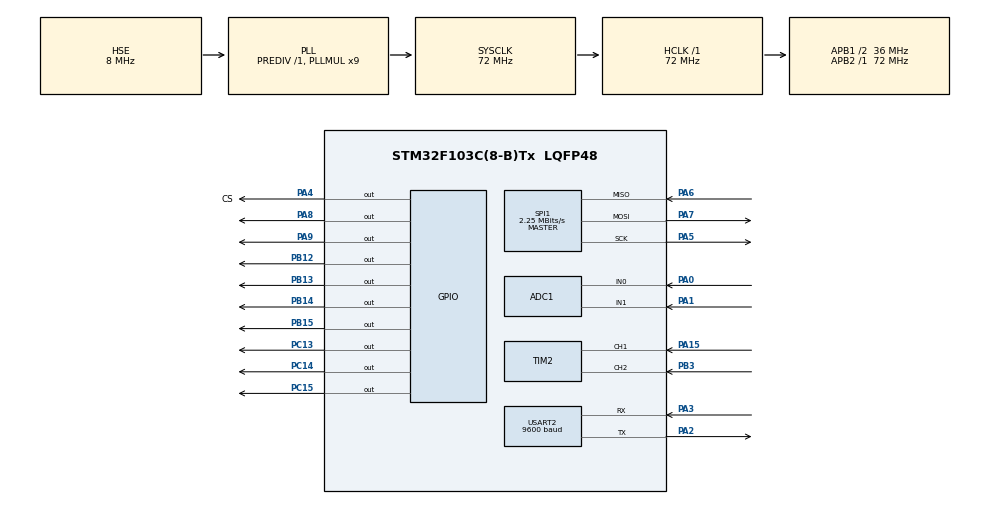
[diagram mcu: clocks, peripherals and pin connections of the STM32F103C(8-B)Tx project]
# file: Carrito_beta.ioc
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ADC1.Channel-1\#ChannelRegularConversion=ADC_CHANNEL_1
ADC1.Channel-2\#ChannelRegularConversion=ADC_CHANNEL_0
ADC1.ContinuousConvMode=ENABLE
ADC1.NbrOfConversion=2
ADC1.NbrOfConversionFlag=1
ADC1.Rank-1\#ChannelRegularConversion=1
ADC1.Rank-2\#ChannelRegularConversion=2
ADC1.SamplingTime-1\#ChannelRegularConversion=ADC_SAMPLETIME_1CYCLE_5
ADC1.SamplingTime-2\#ChannelRegularConversion=ADC_SAMPLETIME_1CYCLE_5
ADC1.master=1
FATFS._MAX_SS=4096
FATFS._USE_LFN=1
Mcu.Family=STM32F1
Mcu.Name=STM32F103C(8-B)Tx
Mcu.Package=LQFP48
NVIC.PriorityGroup=NVIC_PRIORITYGROUP_4
NVIC.TIM2_IRQn=true\:0\:0\:false\:false\:true\:true\:true\:true
NVIC.USART2_IRQn=true\:0\:0\:false\:false\:true\:true\:true\:true
PA0-WKUP.Signal=ADCx_IN0
PA1.Signal=ADCx_IN1
PA13.Mode=Serial_Wire
PA13.Signal=SYS_JTMS-SWDIO
PA14.Mode=Serial_Wire
PA14.Signal=SYS_JTCK-SWCLK
PA15.Signal=S_TIM2_CH1_ETR
PA2.Mode=Asynchronous
PA2.Signal=USART2_TX
PA3.Mode=Asynchronous
PA3.Signal=USART2_RX
PA4.GPIO_Label=CS
PA4.Signal=GPIO_Output
PA5.Mode=Full_Duplex_Master
PA5.Signal=SPI1_SCK
PA6.Mode=Full_Duplex_Master
PA6.Signal=SPI1_MISO
PA7.Mode=Full_Duplex_Master
PA7.Signal=SPI1_MOSI
PA8.Signal=GPIO_Output
PA9.Signal=GPIO_Output
PB12.Signal=GPIO_Output
PB13.Signal=GPIO_Output
PB14.Signal=GPIO_Output
PB15.Signal=GPIO_Output
PB3.Signal=S_TIM2_CH2
PC13-TAMPER-RTC.Signal=GPIO_Output
PC14-OSC32_IN.Signal=GPIO_Output
PC15-OSC32_OUT.Signal=GPIO_Output
PD0-OSC_IN.Mode=HSE-External-Oscillator
PD0-OSC_IN.Signal=RCC_OSC_IN
PD1-OSC_OUT.Mode=HSE-External-Oscillator
PD1-OSC_OUT.Signal=RCC_OSC_OUT
ProjectManager.HeapSize=0x200
ProjectManager.StackSize=0x400
ProjectManager.TargetToolchain=STM32CubeIDE
RCC.ADCPresc=RCC_ADCPCLK2_DIV6
RCC.AHBFreq_Value=72000000
RCC.APB1CLKDivider=RCC_HCLK_DIV2
RCC.APB1Freq_Value=36000000
RCC.APB1TimFreq_Value=72000000
RCC.APB2Freq_Value=72000000
RCC.APB2TimFreq_Value=72000000
RCC.HCLKFreq_Value=72000000
RCC.PLLMUL=RCC_PLL_MUL9
RCC.PLLSourceVirtual=RCC_PLLSOURCE_HSE
RCC.SYSCLKFreq_VALUE=72000000
RCC.SYSCLKSource=RCC_SYSCLKSOURCE_PLLCLK
RCC.USBFreq_Value=72000000
SH.ADCx_IN0.0=ADC1_IN0,IN0
SH.ADCx_IN1.0=ADC1_IN1,IN1
SH.S_TIM2_CH1_ETR.0=TIM2_CH1,Encoder_Interface
SH.S_TIM2_CH2.0=TIM2_CH2,Encoder_Interface
SPI1.BaudRatePrescaler=SPI_BAUDRATEPRESCALER_32
SPI1.CalculateBaudRate=2.25 MBits/s
SPI1.Direction=SPI_DIRECTION_2LINES
SPI1.Mode=SPI_MODE_MASTER
SPI1.VirtualType=VM_MASTER
TIM2.AutoReloadPreload=TIM_AUTORELOAD_PRELOAD_ENABLE
TIM2.EncoderMode=TIM_ENCODERMODE_TI12
TIM2.IC1Filter=0
TIM2.IC1Polarity=TIM_ICPOLARITY_RISING
TIM2.IC2Filter=0
TIM2.IC2Polarity=TIM_ICPOLARITY_RISING
USART2.BaudRate=9600
USART2.Mode=MODE_RX
USART2.VirtualMode=VM_ASYNC
VP_ADC1_Vref_Input.Mode=IN-Vrefint
VP_FATFS_VS_Generic.Mode=User_defined
board=custom

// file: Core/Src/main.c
/* USER CODE BEGIN Header */
/**
  ******************************************************************************
  * @file           : main.c
  * @brief          : Main program body
  ******************************************************************************
  * @attention
  *
  * Copyright (c) 2024 STMicroelectronics.
  * All rights reserved.
  *
  * This software is licensed under terms that can be found in the LICENSE file
  * in the root directory of this software component.
  * If no LICENSE file comes with this software, it is provided AS-IS.
  *
  ******************************************************************************
  */
/* USER CODE END Header */
#include "main.h"
#include "fatfs.h"

/* USER CODE BEGIN Includes */
#include "UartRingbuffer.h"
#include "string.h"
#include "stdio.h"
#include "sensors.h"
#include "gps.h"
#include "sdcard.h"
#include "encoder.h"
#include "lcd.h"
/* USER CODE END Includes */

/* USER CODE BEGIN PD */
FIL fil;
/* USER CODE END PD */

ADC_HandleTypeDef hadc1;

SPI_HandleTypeDef hspi1;

TIM_HandleTypeDef htim2;

UART_HandleTypeDef huart2;

void SystemClock_Config(void);
static void MX_GPIO_Init(void);
static void MX_SPI1_Init(void);
static void MX_USART2_UART_Init(void);
static void MX_ADC1_Init(void);
static void MX_TIM2_Init(void);

/* USER CODE BEGIN 0 */
uint32_t adcValues[2];  // Array para almacenar los valores de los canales ADC

//Headers y valores constantes
const char HEADER[] = "Trocha(mm),Peralte(mm),Distancia(m),Latitud,Longitud,Velocidad(km/h),HoraGPS\n";

//Inicializamos variables
float wheel_diam = 0.05; //m
float distance =0;
int32_t totalPulses = 0;
int32_t lastCNT = 0;

#define DISTANCE_INTERVAL 0.25f  // Intervalo de guardado en metros
float lastSavedDistance = 0.0f;

//Buffers para datos GPS
char GGA[100];
char RMC[100];
char gpsBuffer[250];

GGASTRUCT gga;
RMCSTRUCT rmc;

//Flags de validez
int flagGGA = 0, flagRMC = 0;
#define VCCTIMEOUT_INIT 5000
int VCCTimeout = VCCTIMEOUT_INIT;

/* USER CODE END 0 */

int main(void)
{

  /* MCU Configuration--------------------------------------------------------*/

  /* Reset of all peripherals, Initializes the Flash interface and the Systick. */
  HAL_Init();

  /* Configure the system clock */
  SystemClock_Config();

  /* Initialize all configured peripherals */
  MX_GPIO_Init();
  MX_SPI1_Init();
  MX_USART2_UART_Init();
  MX_FATFS_Init();
  MX_ADC1_Init();
  MX_TIM2_Init();
  /* USER CODE BEGIN 2 */
	#define VREFINT_CAL_ADDR ((uint16_t*)0x1FFFF7BA) // Dirección de la constante de fábrica
	#define VREFINT_CAL      (*VREFINT_CAL_ADDR) // Valor calibrado a 3.3V en fábrica
  // Inicialización de módulo ADC
  Sensors_Init(&hadc1);
  //Inicializo encoder incremental para rueda
  Encoder_Init(&htim2);
  //Escribimos el header en la SD
  SD_Write(&fil, HEADER);

  //Pantalla LCD
  Lcd_PortType ports[] = { GPIOB, GPIOB, GPIOB, GPIOB };
  Lcd_PinType pins[] = {GPIO_PIN_12, GPIO_PIN_13, GPIO_PIN_14, GPIO_PIN_15};
  //B12 cablear a D4; B13 a D5; B14 a D6 y B15 a D7
  Lcd_HandleTypeDef lcd;
  lcd = Lcd_create(ports, pins, GPIOA, GPIO_PIN_8, GPIOA, GPIO_PIN_9, LCD_4_BIT_MODE);
  // A8 cablear a RS; A9 a E; RW a GND
  Lcd_cursor(&lcd, 0,4);
  Lcd_string(&lcd, "TIA S.A");
  Lcd_cursor(&lcd, 1,0);
  Lcd_string(&lcd, "Inicializando...");
  HAL_Delay(2000);
  Lcd_clear(&lcd);
  Lcd_cursor(&lcd, 0,4);
  Lcd_string(&lcd, "Avance");
  Lcd_cursor(&lcd, 1,0);
  Lcd_string(&lcd, "para iniciar...");
  HAL_Delay(2000);

  /* USER CODE END 2 */

  /* Infinite loop */
  /* USER CODE BEGIN WHILE */
  while (1)
  {
	  // LED ON
	      HAL_GPIO_TogglePin(GPIOC, GPIO_PIN_13);

	      //Leemos la trocha y el peralte
	      float trocha, peralte;
	      Sensors_Read(&trocha, &peralte);

//	      //Leemos GPS
	      GPS_Read(&huart2, gpsBuffer, sizeof(gpsBuffer), &gga);
//
    /* USER CODE END WHILE */

    /* USER CODE BEGIN 3 */
//
//		   //Calculo el avance de la rueda em m
	      int32_t deltaPulses = Encoder_ReadDelta();
	      float distance = Encoder_GetDistance(wheel_diam);

		   // Si se recorrio la distancia minima objetivo, grabamos y mostramos.
		   if (fabs(distance-lastSavedDistance)>=DISTANCE_INTERVAL) {

			   // Escribo el buffer con datos de trocha y peralte
			   char buffer[200];
			   snprintf(buffer, sizeof(buffer), "%.1f, %.2f,%.3f, %s", trocha, peralte, distance, gpsBuffer);

			   //Escribimos en SD
			   SD_Write(&fil, buffer);

			   //Actualizamos display
			   Lcd_show_info(&lcd, gpsBuffer, trocha, peralte);

			   // Actualizamos la última distancia guardada
			   lastSavedDistance = distance;
		   	   }

  }
  /* USER CODE END 3 */
}

void SystemClock_Config(void)
{
  RCC_OscInitTypeDef RCC_OscInitStruct = {0};
  RCC_ClkInitTypeDef RCC_ClkInitStruct = {0};
  RCC_PeriphCLKInitTypeDef PeriphClkInit = {0};

  /** Initializes the RCC Oscillators according to the specified parameters
  * in the RCC_OscInitTypeDef structure.
  */
  RCC_OscInitStruct.OscillatorType = RCC_OSCILLATORTYPE_HSE;
  RCC_OscInitStruct.HSEState = RCC_HSE_ON;
  RCC_OscInitStruct.HSEPredivValue = RCC_HSE_PREDIV_DIV1;
  RCC_OscInitStruct.HSIState = RCC_HSI_ON;
  RCC_OscInitStruct.PLL.PLLState = RCC_PLL_ON;
  RCC_OscInitStruct.PLL.PLLSource = RCC_PLLSOURCE_HSE;
  RCC_OscInitStruct.PLL.PLLMUL = RCC_PLL_MUL9;
  if (HAL_RCC_OscConfig(&RCC_OscInitStruct) != HAL_OK)
  {
    Error_Handler();
  }

  /** Initializes the CPU, AHB and APB buses clocks
  */
  RCC_ClkInitStruct.ClockType = RCC_CLOCKTYPE_HCLK|RCC_CLOCKTYPE_SYSCLK
                              |RCC_CLOCKTYPE_PCLK1|RCC_CLOCKTYPE_PCLK2;
  RCC_ClkInitStruct.SYSCLKSource = RCC_SYSCLKSOURCE_PLLCLK;
  RCC_ClkInitStruct.AHBCLKDivider = RCC_SYSCLK_DIV1;
  RCC_ClkInitStruct.APB1CLKDivider = RCC_HCLK_DIV2;
  RCC_ClkInitStruct.APB2CLKDivider = RCC_HCLK_DIV1;

  if (HAL_RCC_ClockConfig(&RCC_ClkInitStruct, FLASH_LATENCY_2) != HAL_OK)
  {
    Error_Handler();
  }
  PeriphClkInit.PeriphClockSelection = RCC_PERIPHCLK_ADC;
  PeriphClkInit.AdcClockSelection = RCC_ADCPCLK2_DIV6;
  if (HAL_RCCEx_PeriphCLKConfig(&PeriphClkInit) != HAL_OK)
  {
    Error_Handler();
  }
}

static void MX_ADC1_Init(void)
{

  ADC_ChannelConfTypeDef sConfig = {0};

  /** Common config
  */
  hadc1.Instance = ADC1;
  hadc1.Init.ScanConvMode = ADC_SCAN_ENABLE;
  hadc1.Init.ContinuousConvMode = ENABLE;
  hadc1.Init.DiscontinuousConvMode = DISABLE;
  hadc1.Init.ExternalTrigConv = ADC_SOFTWARE_START;
  hadc1.Init.DataAlign = ADC_DATAALIGN_RIGHT;
  hadc1.Init.NbrOfConversion = 2;
  if (HAL_ADC_Init(&hadc1) != HAL_OK)
  {
    Error_Handler();
  }

  /** Configure Regular Channel
  */
  sConfig.Channel = ADC_CHANNEL_1;
  sConfig.Rank = ADC_REGULAR_RANK_1;
  sConfig.SamplingTime = ADC_SAMPLETIME_1CYCLE_5;
  if (HAL_ADC_ConfigChannel(&hadc1, &sConfig) != HAL_OK)
  {
    Error_Handler();
  }

  /** Configure Regular Channel
  */
  sConfig.Channel = ADC_CHANNEL_0;
  sConfig.Rank = ADC_REGULAR_RANK_2;
  if (HAL_ADC_ConfigChannel(&hadc1, &sConfig) != HAL_OK)
  {
    Error_Handler();
  }

}

static void MX_SPI1_Init(void)
{

  /* SPI1 parameter configuration*/
  hspi1.Instance = SPI1;
  hspi1.Init.Mode = SPI_MODE_MASTER;
  hspi1.Init.Direction = SPI_DIRECTION_2LINES;
  hspi1.Init.DataSize = SPI_DATASIZE_8BIT;
  hspi1.Init.CLKPolarity = SPI_POLARITY_LOW;
  hspi1.Init.CLKPhase = SPI_PHASE_1EDGE;
  hspi1.Init.NSS = SPI_NSS_SOFT;
  hspi1.Init.BaudRatePrescaler = SPI_BAUDRATEPRESCALER_32;
  hspi1.Init.FirstBit = SPI_FIRSTBIT_MSB;
  hspi1.Init.TIMode = SPI_TIMODE_DISABLE;
  hspi1.Init.CRCCalculation = SPI_CRCCALCULATION_DISABLE;
  hspi1.Init.CRCPolynomial = 10;
  if (HAL_SPI_Init(&hspi1) != HAL_OK)
  {
    Error_Handler();
  }

}

static void MX_TIM2_Init(void)
{

  TIM_Encoder_InitTypeDef sConfig = {0};
  TIM_MasterConfigTypeDef sMasterConfig = {0};

  htim2.Instance = TIM2;
  htim2.Init.Prescaler = 0;
  htim2.Init.CounterMode = TIM_COUNTERMODE_UP;
  htim2.Init.Period = 65535;
  htim2.Init.ClockDivision = TIM_CLOCKDIVISION_DIV1;
  htim2.Init.AutoReloadPreload = TIM_AUTORELOAD_PRELOAD_ENABLE;
  sConfig.EncoderMode = TIM_ENCODERMODE_TI12;
  sConfig.IC1Polarity = TIM_ICPOLARITY_RISING;
  sConfig.IC1Selection = TIM_ICSELECTION_DIRECTTI;
  sConfig.IC1Prescaler = TIM_ICPSC_DIV1;
  sConfig.IC1Filter = 0;
  sConfig.IC2Polarity = TIM_ICPOLARITY_RISING;
  sConfig.IC2Selection = TIM_ICSELECTION_DIRECTTI;
  sConfig.IC2Prescaler = TIM_ICPSC_DIV1;
  sConfig.IC2Filter = 0;
  if (HAL_TIM_Encoder_Init(&htim2, &sConfig) != HAL_OK)
  {
    Error_Handler();
  }
  sMasterConfig.MasterOutputTrigger = TIM_TRGO_RESET;
  sMasterConfig.MasterSlaveMode = TIM_MASTERSLAVEMODE_DISABLE;
  if (HAL_TIMEx_MasterConfigSynchronization(&htim2, &sMasterConfig) != HAL_OK)
  {
    Error_Handler();
  }

}

static void MX_USART2_UART_Init(void)
{

  huart2.Instance = USART2;
  huart2.Init.BaudRate = 9600;
  huart2.Init.WordLength = UART_WORDLENGTH_8B;
  huart2.Init.StopBits = UART_STOPBITS_1;
  huart2.Init.Parity = UART_PARITY_NONE;
  huart2.Init.Mode = UART_MODE_RX;
  huart2.Init.HwFlowCtl = UART_HWCONTROL_NONE;
  huart2.Init.OverSampling = UART_OVERSAMPLING_16;
  if (HAL_UART_Init(&huart2) != HAL_OK)
  {
    Error_Handler();
  }

}

static void MX_GPIO_Init(void)
{
  GPIO_InitTypeDef GPIO_InitStruct = {0};

  /* GPIO Ports Clock Enable */
  __HAL_RCC_GPIOC_CLK_ENABLE();
  __HAL_RCC_GPIOD_CLK_ENABLE();
  __HAL_RCC_GPIOA_CLK_ENABLE();
  __HAL_RCC_GPIOB_CLK_ENABLE();

  /*Configure GPIO pin Output Level */
  HAL_GPIO_WritePin(GPIOC, GPIO_PIN_13|GPIO_PIN_14|GPIO_PIN_15, GPIO_PIN_RESET);

  /*Configure GPIO pin Output Level */
  HAL_GPIO_WritePin(GPIOA, CS_Pin|GPIO_PIN_8|GPIO_PIN_9, GPIO_PIN_RESET);

  /*Configure GPIO pin Output Level */
  HAL_GPIO_WritePin(GPIOB, GPIO_PIN_12|GPIO_PIN_13|GPIO_PIN_14|GPIO_PIN_15, GPIO_PIN_RESET);

  /*Configure GPIO pins : PC13 PC14 PC15 */
  GPIO_InitStruct.Pin = GPIO_PIN_13|GPIO_PIN_14|GPIO_PIN_15;
  GPIO_InitStruct.Mode = GPIO_MODE_OUTPUT_PP;
  GPIO_InitStruct.Pull = GPIO_NOPULL;
  GPIO_InitStruct.Speed = GPIO_SPEED_FREQ_LOW;
  HAL_GPIO_Init(GPIOC, &GPIO_InitStruct);

  /*Configure GPIO pins : CS_Pin PA8 PA9 */
  GPIO_InitStruct.Pin = CS_Pin|GPIO_PIN_8|GPIO_PIN_9;
  GPIO_InitStruct.Mode = GPIO_MODE_OUTPUT_PP;
  GPIO_InitStruct.Pull = GPIO_NOPULL;
  GPIO_InitStruct.Speed = GPIO_SPEED_FREQ_LOW;
  HAL_GPIO_Init(GPIOA, &GPIO_InitStruct);

  /*Configure GPIO pins : PB12 PB13 PB14 PB15 */
  GPIO_InitStruct.Pin = GPIO_PIN_12|GPIO_PIN_13|GPIO_PIN_14|GPIO_PIN_15;
  GPIO_InitStruct.Mode = GPIO_MODE_OUTPUT_PP;
  GPIO_InitStruct.Pull = GPIO_NOPULL;
  GPIO_InitStruct.Speed = GPIO_SPEED_FREQ_LOW;
  HAL_GPIO_Init(GPIOB, &GPIO_InitStruct);

}

void Error_Handler(void)
{
  __disable_irq();
  while (1)
  {
  }
}
